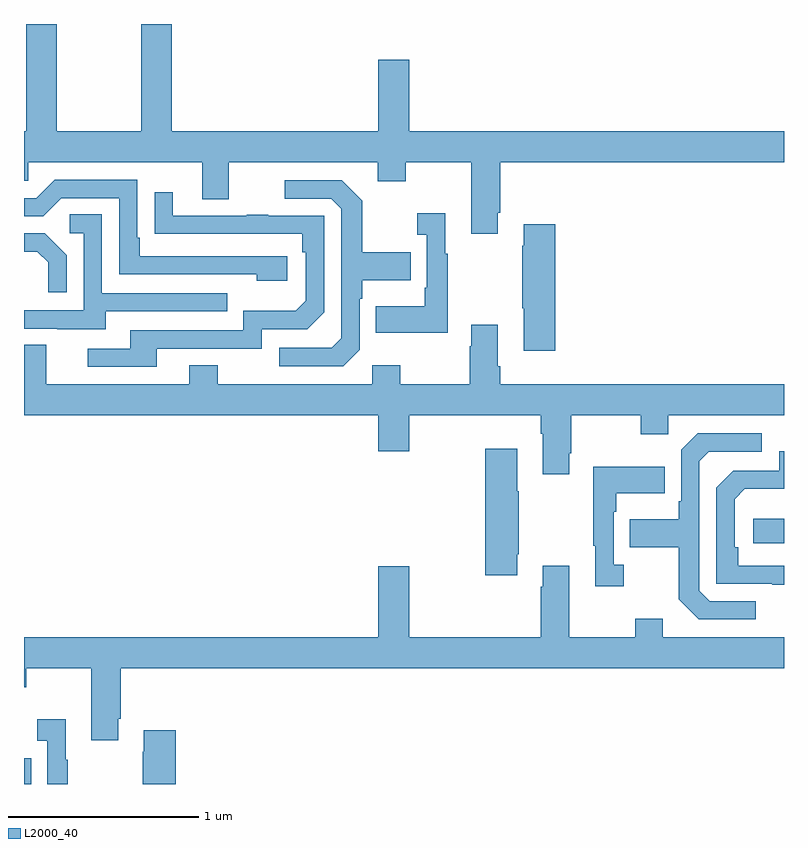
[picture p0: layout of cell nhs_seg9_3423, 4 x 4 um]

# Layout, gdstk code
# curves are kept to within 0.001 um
import gdstk
lib = gdstk.Library(unit=1e-6, precision=1e-09)
def R(c, l, rs):  # rectangles x0, y0, x1, y1
    for r in rs: c.add(gdstk.rectangle(r[:2], r[2:], *l))
def P(c, l, *ps):  # polygons
    for p in ps: c.add(gdstk.Polygon(p, *l))
L2000_40 = (2000, 40)

nhs_seg9_3423 = lib.new_cell('nhs_seg9_3423')
R(nhs_seg9_3423, L2000_40, [(307,1174.5,307.037,1174.635), (310.839,1175.766,311,1175.896)])
P(nhs_seg9_3423, L2000_40, [(309.493,1177.507),(309.506,1177.507),(309.506,1177.772),(311,1177.772),(311,1177.936),(309.028,1177.936),(309.028,1178.311),(308.864,1178.311),(308.864,1177.936),(307.778,1177.936),(307.778,1178.5),(307.618,1178.5),(307.618,1177.936),(307.173,1177.936),(307.173,1178.5),(307.013,1178.5),(307.013,1177.936),(307,1177.936),(307,1177.674),(307.023,1177.674),(307.023,1177.772),(307.937,1177.772),(307.937,1177.578),(308.077,1177.578),(308.077,1177.772),(308.861,1177.772),(308.861,1177.673),(309.009,1177.673),(309.009,1177.772),(309.353,1177.772),(309.353,1177.395),(309.493,1177.395)],
  [(308.386,1177.278),(307.609,1177.278),(307.609,1177.375),(307.596,1177.375),(307.596,1177.68),(307.161,1177.68),(307.065,1177.584),(307,1177.584),(307,1177.488),(307.101,1177.488),(307.197,1177.584),(307.5,1177.584),(307.5,1177.182),(308.225,1177.182),(308.225,1177.148),(308.386,1177.148)],
  [(308.766,1176.786),(308.766,1177.055),(308.779,1177.055),(308.779,1177.151),(309.035,1177.151),(309.035,1177.299),(308.779,1177.299),(308.779,1177.571),(308.673,1177.677),(308.373,1177.677),(308.373,1177.581),(308.616,1177.581),(308.67,1177.527),(308.67,1176.846),(308.619,1176.795),(308.343,1176.795),(308.343,1176.699),(308.679,1176.699)],
  [(307.699,1176.792),(308.25,1176.792),(308.25,1176.894),(308.49,1176.894),(308.58,1176.984),(308.58,1177.491),(308.285,1177.491),(308.285,1177.496),(308.173,1177.496),(308.173,1177.491),(307.783,1177.491),(307.783,1177.615),(307.687,1177.615),(307.687,1177.396),(308.464,1177.395),(308.464,1177.298),(308.484,1177.298),(308.484,1177.044),(308.431,1176.991),(308.154,1176.991),(308.154,1176.888),(307.559,1176.888),(307.559,1176.792),(307.335,1176.792),(307.335,1176.696),(307.699,1176.696)],
  [(309.229,1177.291),(309.217,1177.291),(309.217,1177.504),(309.069,1177.504),(309.069,1177.391),(309.12,1177.391),(309.12,1177.111),(309.108,1177.111),(309.108,1177.015),(308.851,1177.015),(308.851,1176.875),(309.229,1176.875)],
  [(307.429,1176.987),(308.069,1176.987),(308.069,1177.083),(307.41,1177.083),(307.41,1177.499),(307.242,1177.499),(307.242,1177.398),(307.314,1177.398),(307.314,1176.993),(307,1176.993),(307,1176.897),(307.175,1176.897),(307.175,1176.893),(307.429,1176.893)],
  [(309.797,1177.447),(309.629,1177.447),(309.629,1177.334),(309.622,1177.334),(309.622,1177.003),(309.629,1177.003),(309.629,1176.78),(309.797,1176.78)],
  [(307.224,1177.282),(307.108,1177.398),(307,1177.398),(307,1177.302),(307.07,1177.302),(307.127,1177.245),(307.127,1177.089),(307.224,1177.089)],
  [(309.506,1176.7),(309.493,1176.7),(309.493,1176.916),(309.353,1176.916),(309.353,1176.803),(309.346,1176.803),(309.346,1176.604),(308.979,1176.604),(308.979,1176.703),(308.832,1176.703),(308.832,1176.604),(308.019,1176.604),(308.019,1176.703),(307.871,1176.703),(307.871,1176.604),(307.117,1176.604),(307.117,1176.812),(307,1176.812),(307,1176.44),(308.864,1176.44),(308.864,1176.252),(309.028,1176.252),(309.028,1176.44),(309.719,1176.44),(309.719,1176.344),(309.731,1176.344),(309.731,1176.129),(309.871,1176.129),(309.871,1176.241),(309.879,1176.241),(309.879,1176.44),(310.246,1176.44),(310.246,1176.341),(310.392,1176.341),(310.392,1176.44),(311,1176.44),(311,1176.604),(309.506,1176.604)],
  [(310.852,1175.463),(310.608,1175.463),(310.554,1175.517),(310.554,1176.198),(310.605,1176.249),(310.882,1176.249),(310.882,1176.345),(310.545,1176.345),(310.458,1176.258),(310.458,1175.989),(310.446,1175.989),(310.446,1175.893),(310.189,1175.893),(310.189,1175.746),(310.446,1175.746),(310.446,1175.473),(310.551,1175.367),(310.852,1175.367)],
  [(309.595,1175.71),(309.603,1175.71),(309.603,1176.041),(309.595,1176.041),(309.595,1176.265),(309.428,1176.265),(309.428,1175.598),(309.595,1175.598)],
  [(311,1175.649),(310.76,1175.649),(310.76,1175.746),(310.74,1175.746),(310.74,1176),(310.793,1176.053),(311,1176.053),(311,1176.252),(310.974,1176.252),(310.974,1176.15),(310.734,1176.15),(310.644,1176.06),(310.644,1175.553),(310.939,1175.553),(310.939,1175.548),(311,1175.548)],
  [(310.156,1175.654),(310.104,1175.654),(310.104,1175.933),(310.117,1175.933),(310.117,1176.029),(310.373,1176.029),(310.373,1176.169),(309.996,1176.169),(309.996,1175.753),(310.007,1175.753),(310.007,1175.541),(310.156,1175.541)],
  [(307.495,1174.843),(307.508,1174.843),(307.508,1175.108),(311,1175.108),(311,1175.272),(310.363,1175.272),(310.363,1175.371),(310.216,1175.371),(310.216,1175.272),(309.871,1175.272),(309.871,1175.65),(309.731,1175.65),(309.731,1175.537),(309.719,1175.537),(309.719,1175.272),(309.028,1175.272),(309.028,1175.647),(308.864,1175.647),(308.864,1175.272),(307,1175.272),(307,1175.009),(307.011,1175.009),(307.011,1175.108),(307.355,1175.108),(307.355,1174.731),(307.495,1174.731)],
  [(307.231,1174.627),(307.219,1174.627),(307.219,1174.84),(307.071,1174.84),(307.071,1174.727),(307.122,1174.727),(307.122,1174.5),(307.231,1174.5)],
  [(307.799,1174.783),(307.631,1174.783),(307.631,1174.67),(307.624,1174.67),(307.624,1174.5),(307.799,1174.5)])

lib.write_gds('nhs_seg9_3423.gds')
